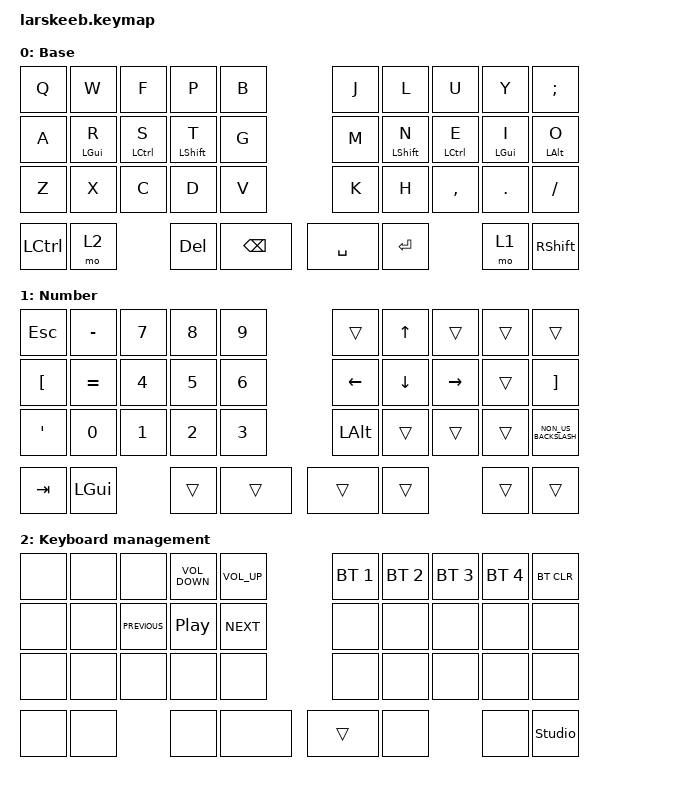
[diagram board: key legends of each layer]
#include <behaviors.dtsi>
#include <dt-bindings/zmk/bt.h>
#include <dt-bindings/zmk/keys.h>

/ {
    keymap {
        compatible = "zmk,keymap";

        default_layer {
            display-name = "Base";
            bindings = <
&kp Q            &kp W           &kp F               &kp P             &kp B     &kp J      &kp L             &kp U               &kp Y           &kp SEMICOLON
&kp A            &mt LEFT_GUI R  &mt LEFT_CONTROL S  &mt LEFT_SHIFT T  &kp G     &kp M      &mt LEFT_SHIFT N  &mt LEFT_CONTROL E  &mt LEFT_GUI I  &mt LEFT_ALT O
&kp Z            &kp X           &kp C               &kp D             &kp V     &kp K      &kp H             &kp COMMA           &kp DOT         &kp FSLH
&kp LEFT_CONTROL &mo 2                               &kp DELETE        &kp BSPC  &kp SPACE  &kp ENTER                             &mo 1           &kp RSHFT
            >;
        };

        number {
            display-name = "Number";
            bindings = <
&kp ESCAPE        &kp MINUS     &kp N7  &kp N8  &kp N9  &trans          &kp UP_ARROW  &trans           &trans  &trans
&kp LEFT_BRACKET  &kp EQUAL     &kp N4  &kp N5  &kp N6  &kp LEFT_ARROW  &kp DOWN      &kp RIGHT_ARROW  &trans  &kp RIGHT_BRACKET
&kp APOSTROPHE    &kp N0        &kp N1  &kp N2  &kp N3  &kp LEFT_ALT    &trans        &trans           &trans  &kp NON_US_BACKSLASH
&kp TAB           &kp LEFT_GUI          &trans  &trans  &trans          &trans                         &trans  &trans
            >;
        };

        manage {
            display-name = "Keyboard management";
            bindings = <
&none  &none  &none           &kp K_VOLUME_DOWN  &kp K_VOLUME_UP  &bt BT_SEL 1  &bt BT_SEL 2  &bt BT_SEL 3  &bt BT_SEL 4  &bt BT_CLR
&none  &none  &kp C_PREVIOUS  &kp C_PLAY_PAUSE   &kp C_NEXT       &none         &none         &none         &none         &none
&none  &none  &none           &none              &none            &none         &none         &none         &none         &none
&none  &none                  &none              &none            &trans        &none                       &none         &studio_unlock
            >;
        };
    };
};
